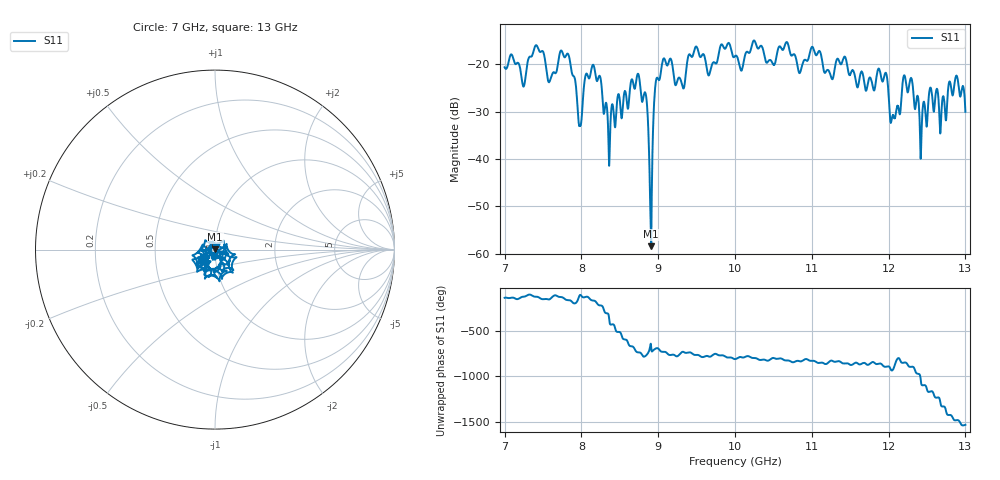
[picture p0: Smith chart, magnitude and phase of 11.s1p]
[Version] 2.0
! Rohde & Schwarz Vector Network Analyzer
! Rohde-Schwarz,ZNL20-2Port,1323001220200009,1.71.1.10-23.02.1.238
! Trace info:
! Nominal Param -> Actual Exported Buffer
! S11 -> S22
! Created: GMT+3 2024-09-24 16:38:42
# Hz S DB R 50
[Number of Ports] 1
! freq[Hz]  S11[mag dB]  S11[ang]
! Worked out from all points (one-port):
!   6001 points, 7 GHz to 13 GHz, reference 50 ohm
!   lowest |S11| = -58.4 dB at 8.909 GHz (marker M1), VSWR 1.00, Z = 50.1 + j0.0715 ohm
!   |S11| at or under -10 dB: start of sweep to end of sweep
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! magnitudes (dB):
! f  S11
! 7 GHz  -20.6
! 7.248 GHz  -24.7
! 7.414 GHz  -16.0
! 7.585 GHz  -23.7
! 7.75 GHz  -17.4
! 7.843 GHz  -18.6
! 7.98 GHz  -33.0
! 8.148 GHz  -20.1
! 8.358 GHz  -40.1
! 8.5 GHz  -27.6
! 8.744 GHz  -22.2
! 8.842 GHz  -26.7
! 8.909 GHz  -58.4
! 8.981 GHz  -22.9
! 9.078 GHz  -18.8
! 9.25 GHz  -23.4
! 9.491 GHz  -16.3
! 9.659 GHz  -22.4
! 10 GHz  -18.3
! 10.75 GHz  -18.1
! 11.5 GHz  -22.2
! 11.96 GHz  -21.8
! 12.05 GHz  -31.0
! 12.25 GHz  -25.9
! 12.42 GHz  -39.1
! 12.54 GHz  -24.9
! 12.88 GHz  -22.4
! 13 GHz  -30.0
